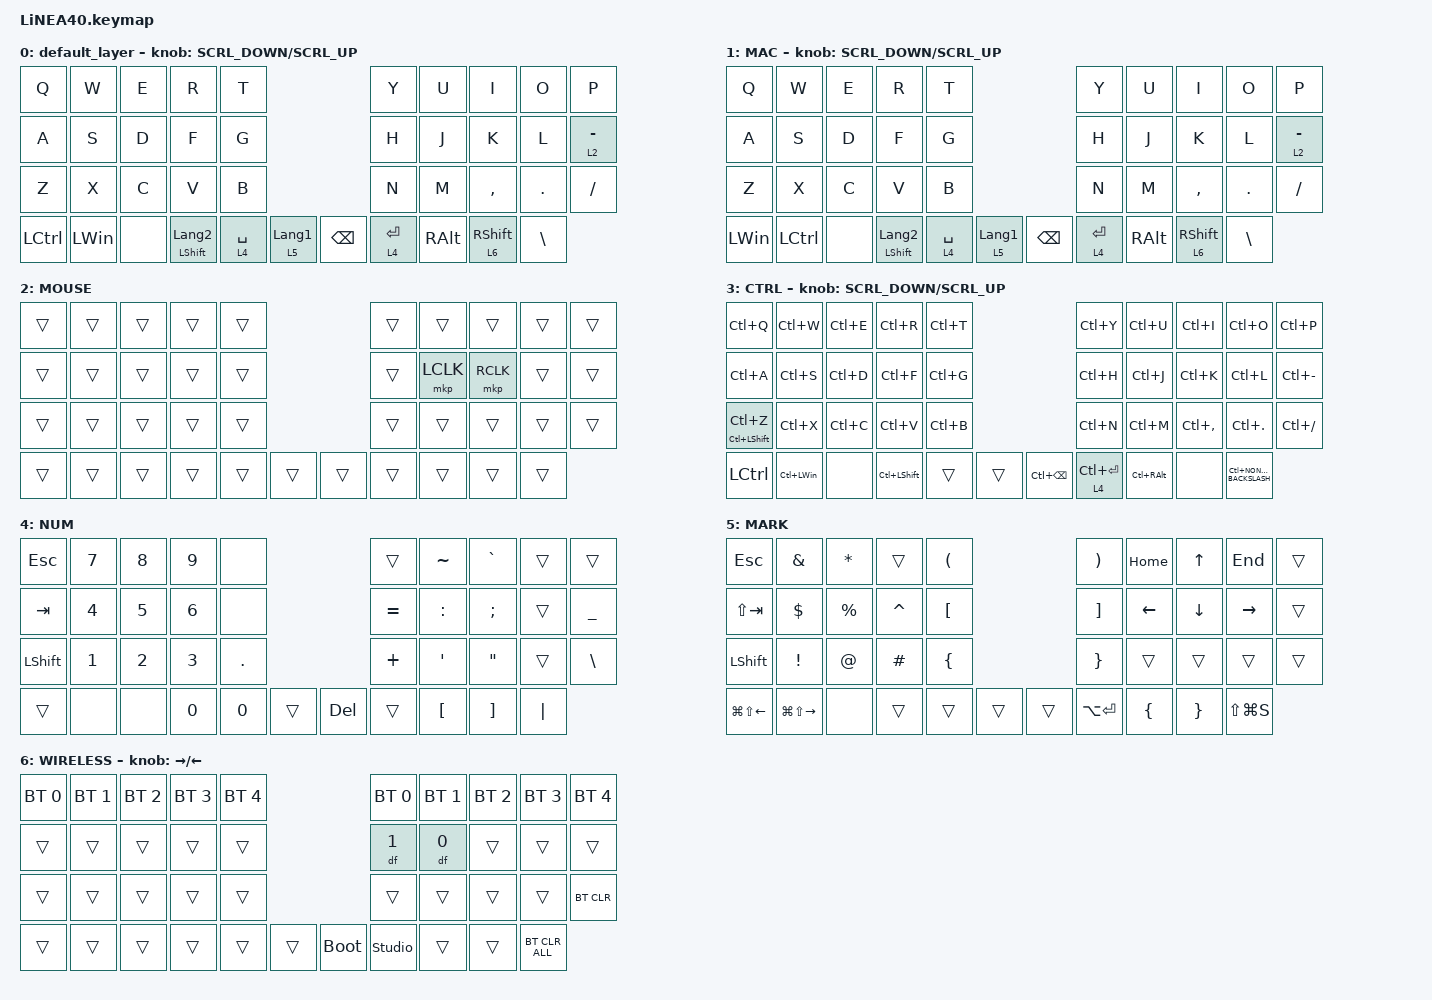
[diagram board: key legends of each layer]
#define ZMK_POINTING_DEFAULT_SCRL_VAL 150

#include <dt-bindings/zmk/input_transform.h>
#include <input/processors.dtsi>
#include <zephyr/dt-bindings/input/input-event-codes.h>
#include <behaviors.dtsi>
#include <dt-bindings/zmk/bt.h>
#include <dt-bindings/zmk/keys.h>
#include <dt-bindings/zmk/pointing.h>

#define MOUSE 1
#define MARK 2
#define CURSOR 3
#define FUNCTION 4
#define SCROLL 5
#define WIRELESS 6

//mouse cursol

&mmv {
    delay-ms = <20>;
    trigger-period-ms = <5>;
    time-to-max-speed-ms = <50>;
    acceleration-exponent = <1>;
};

//mouse scroll

&msc {
    delay-ms = <3>;
    trigger-period-ms = <3>;
    time-to-max-speed-ms = <100>;
    acceleration-exponent = <0>;
};

/ {
    input_processors {
        zip_wheel_scaler: zip_wheel_scaler {
            compatible = "zmk,input-processor-scaler";
            #input-processor-cells = <2>;
            type = <INPUT_EV_REL>;
            codes = <INPUT_REL_WHEEL>;
            track-remainders;
        };
    };
};

&msc_input_listener {
    speed_up {
        layers = <FUNCTION>;
        input-processors = <&zip_wheel_scaler 3 1>; //スクロールを3倍速にする
    };
};

&trackball_listener {
    scroller {
        layers = <SCROLL>;
        input-processors =
            <&zip_xy_transform INPUT_TRANSFORM_Y_INVERT>,
            //スクロール方向を逆転,,,,,,,,,,,,,,,,,,,,,,,,,,,,,
            <&zip_xy_to_scroll_mapper>;
    };
};

/ {
    combos {
        compatible = "zmk,combos";

        DeleteKey {
            bindings = <&kp DEL>;
            key-positions = <7 8>;
        };
    };

    behaviors {
        re_kp: sensor_rotate_kp {
            compatible = "zmk,behavior-sensor-rotate-var";
            #sensor-binding-cells = <2>;
            bindings = <&kp>, <&kp>;
        };

        mouse_scrl: mouse_wheel_scrl {
            compatible = "zmk,behavior-sensor-rotate-var";
            #sensor-binding-cells = <2>;
            bindings = <&msc>, <&msc>;

            tap-ms = <20>;
        };
    };

    macros {
        ctrl_macro: new_macro {
            compatible = "zmk,behavior-macro";
            #binding-cells = <0>;
            bindings = <&macro_press>, <&kp LCTRL &sl 3>;

            label = "NEW_MACRO";
        };
    };

    keymap {
        compatible = "zmk,keymap";

        default_layer {
            bindings = <
&kp Q      &kp W         &kp E  &kp R                      &kp T                                           &kp Y        &kp U  &kp I          &kp O              &kp P
&kp A      &kp S         &kp D  &kp F                      &kp G                                           &kp H        &kp J  &kp K          &kp L              &lt 2 MINUS
&kp Z      &kp X         &kp C  &kp V                      &kp B                                           &kp N        &kp M  &kp COMMA      &kp DOT            &kp SLASH
&kp LCTRL  &kp LEFT_WIN  &none  &mt LEFT_SHIFT LANGUAGE_2  &lt 4 SPACE  &lt 5 LANGUAGE_1    &kp BACKSPACE  &lt 4 ENTER         &kp RIGHT_ALT  &lt 6 RIGHT_SHIFT  &kp BACKSLASH
            >;

            sensor-bindings = <&mouse_scrl SCRL_DOWN SCRL_UP>;
        };

        MAC {
            bindings = <
&kp Q         &kp W      &kp E  &kp R                      &kp T                                           &kp Y        &kp U  &kp I          &kp O              &kp P
&kp A         &kp S      &kp D  &kp F                      &kp G                                           &kp H        &kp J  &kp K          &kp L              &lt 2 MINUS
&kp Z         &kp X      &kp C  &kp V                      &kp B                                           &kp N        &kp M  &kp COMMA      &kp DOT            &kp SLASH
&kp LEFT_WIN  &kp LCTRL  &none  &mt LEFT_SHIFT LANGUAGE_2  &lt 4 SPACE  &lt 5 LANGUAGE_1    &kp BACKSPACE  &lt 4 ENTER         &kp RIGHT_ALT  &lt 6 RIGHT_SHIFT  &kp BACKSLASH
            >;

            sensor-bindings = <&mouse_scrl SCRL_DOWN SCRL_UP>;
        };

        MOUSE {
            bindings = <
&trans  &trans  &trans  &trans  &trans                    &trans  &trans     &trans     &trans  &trans
&trans  &trans  &trans  &trans  &trans                    &trans  &mkp LCLK  &mkp RCLK  &trans  &trans
&trans  &trans  &trans  &trans  &trans                    &trans  &trans     &trans     &trans  &trans
&trans  &trans  &trans  &trans  &trans  &trans    &trans  &trans             &trans     &trans  &trans
            >;
        };

        CTRL {
            bindings = <
&kp LC(Q)                 &kp LC(W)         &kp LC(E)  &kp LC(R)           &kp LC(T)                               &kp LC(Y)        &kp LC(U)  &kp LC(I)          &kp LC(O)    &kp LC(P)
&kp LC(A)                 &kp LC(S)         &kp LC(D)  &kp LC(F)           &kp LC(G)                               &kp LC(H)        &kp LC(J)  &kp LC(K)          &kp LC(L)    &kp LC(MINUS)
&mt LC(LEFT_SHIFT) LC(Z)  &kp LC(X)         &kp LC(C)  &kp LC(V)           &kp LC(B)                               &kp LC(N)        &kp LC(M)  &kp LC(COMMA)      &kp LC(DOT)  &kp LC(SLASH)
&kp LCTRL                 &kp LC(LEFT_WIN)  &none      &kp LC(LEFT_SHIFT)  &trans     &trans    &kp LC(BACKSPACE)  &lt 4 LC(ENTER)             &kp LC(RIGHT_ALT)  &none        &kp LC(NON_US_BACKSLASH)
            >;

            sensor-bindings = <&mouse_scrl SCRL_DOWN SCRL_UP>;
        };

        NUM {
            bindings = <
&kp ESC         &kp N7  &kp N8  &kp N9  &none                       &trans     &kp TILDE  &kp GRAVE          &trans             &trans
&kp TAB         &kp N4  &kp N5  &kp N6  &none                       &kp EQUAL  &kp COLON  &kp SEMI           &trans             &kp UNDERSCORE
&kp LEFT_SHIFT  &kp N1  &kp N2  &kp N3  &kp DOT                     &kp PLUS   &kp SQT    &kp DOUBLE_QUOTES  &trans             &kp BSLH
&trans          &none   &none   &kp N0  &kp N0   &trans    &kp DEL  &trans                &kp LEFT_BRACKET   &kp RIGHT_BRACKET  &kp PIPE
            >;
        };

        MARK {
            bindings = <
&kp ESC           &kp AMPERSAND      &kp ASTERISK  &trans     &kp LEFT_PARENTHESIS                    &kp RIGHT_PARENTHESIS  &kp HOME  &kp UP          &kp END          &trans
&kp LS(TAB)       &kp DOLLAR         &kp PERCENT   &kp CARET  &kp LEFT_BRACKET                        &kp RBKT               &kp LEFT  &kp DOWN        &kp RIGHT        &trans
&kp LEFT_SHIFT    &kp EXCLAMATION    &kp AT_SIGN   &kp HASH   &kp LEFT_BRACE                          &kp RIGHT_BRACE        &trans    &trans          &trans           &trans
&kp LG(LS(LEFT))  &kp LG(LS(RIGHT))  &none         &trans     &trans                &trans    &trans  &kp LA(ENTER)                    &kp LEFT_BRACE  &kp RIGHT_BRACE  &kp LS(LG(S))
            >;
        };

        WIRELESS {
            bindings = <
&bt BT_SEL 0  &bt BT_SEL 1  &bt BT_SEL 2  &bt BT_SEL 3  &bt BT_SEL 4                         &bt BT_SEL 0    &bt BT_SEL 1  &bt BT_SEL 2  &bt BT_SEL 3  &bt BT_SEL 4
&trans        &trans        &trans        &trans        &trans                               &df 1           &df 0         &trans        &trans        &trans
&trans        &trans        &trans        &trans        &trans                               &trans          &trans        &trans        &trans        &bt BT_CLR
&trans        &trans        &trans        &trans        &trans        &trans    &bootloader  &studio_unlock                &trans        &trans        &bt BT_CLR_ALL
            >;

            sensor-bindings = <&inc_dec_kp RIGHT_ARROW LEFT_ARROW>;
        };
    };
};
